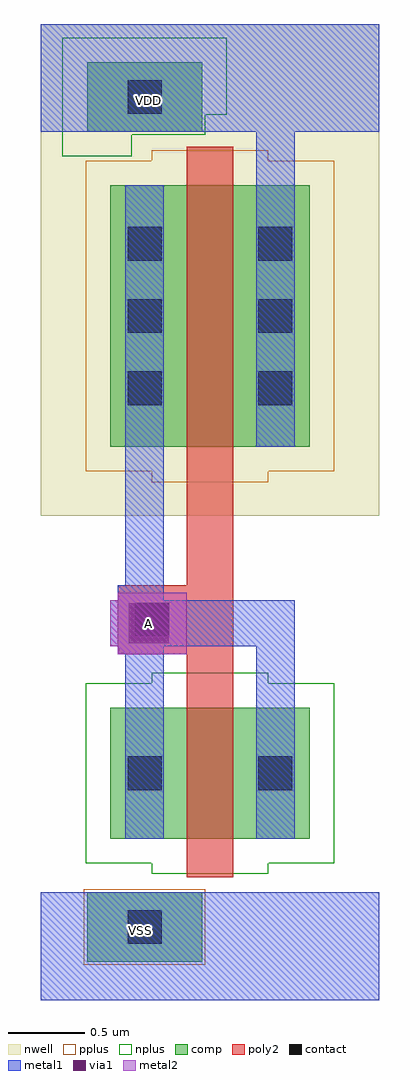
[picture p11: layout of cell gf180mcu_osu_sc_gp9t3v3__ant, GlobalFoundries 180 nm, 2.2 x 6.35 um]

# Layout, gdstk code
import gdstk
lib = gdstk.Library(unit=1e-6, precision=1e-09)
def R(c, l, rs):  # rectangles x0, y0, x1, y1
    for r in rs: c.add(gdstk.rectangle(r[:2], r[2:], *l))
def A(c, l, x, y, w, h, nx, ny, dx, dy):  # array of equal rectangles
    R(c, l, [(x+i*dx, y+j*dy, x+i*dx+w, y+j*dy+h) for i in range(nx) for j in range(ny)])
nwell = (21, 0)
comp = (22, 0)
poly2 = (30, 0)
pplus = (31, 0)
nplus = (32, 0)
contact = (33, 0)
metal1 = (34, 0)
via1 = (35, 0)
metal2 = (36, 0)

gf180mcu_osu_sc_gp9t3v3_ = lib.new_cell('gf180mcu_osu_sc_gp9t3v3__ant')
R(gf180mcu_osu_sc_gp9t3v3_, nwell, [(0,3.15,2.2,6.35)])
R(gf180mcu_osu_sc_gp9t3v3_, comp, [(0.3,0.25,1.05,0.7), (0.45,1.05,1.75,1.9), (0.45,3.6,1.75,5.3), (0.3,5.65,1.05,6.1)])
R(gf180mcu_osu_sc_gp9t3v3_, poly2, [(0.95,0.8,1.25,2.25), (0.5,2.25,1.25,2.7), (0.95,2.7,1.25,5.55)])
R(gf180mcu_osu_sc_gp9t3v3_, pplus, [(0.28,0.23,1.07,0.72), (0.72,3.37,1.48,3.44), (0.29,3.44,1.91,5.46), (0.72,5.46,1.48,5.53)])
R(gf180mcu_osu_sc_gp9t3v3_, nplus, [(0.72,0.82,1.48,0.89), (0.29,0.89,1.91,2.06), (0.72,2.06,1.48,2.13), (0.14,5.49,0.59,5.63), (0.14,5.63,1.07,5.76), (0.14,5.76,1.21,6.26)])
A(gf180mcu_osu_sc_gp9t3v3_, contact, 0.565, 3.87, 0.22, 0.22, 1, 3, 0, 0.47)
A(gf180mcu_osu_sc_gp9t3v3_, contact, 1.415, 3.87, 0.22, 0.22, 1, 3, 0, 0.47)
R(gf180mcu_osu_sc_gp9t3v3_, contact, [(0.565,0.365,0.785,0.585), (0.565,1.365,0.785,1.585), (1.415,1.365,1.635,1.585), (0.615,2.365,0.835,2.585), (0.565,5.765,0.785,5.985)])
R(gf180mcu_osu_sc_gp9t3v3_, metal1, [(0,0,2.2,0.7), (0.55,1.05,0.8,2.25), (1.4,1.05,1.65,2.3), (0.5,2.25,0.8,2.3), (0.45,2.3,1.65,2.6), (0.5,2.6,0.8,2.7), (0.55,2.7,0.8,5.3), (1.4,3.6,1.65,5.65), (0,5.65,2.2,6.35)])
R(gf180mcu_osu_sc_gp9t3v3_, via1, [(0.57,2.32,0.83,2.58)])
R(gf180mcu_osu_sc_gp9t3v3_, metal2, [(0.5,2.25,0.95,2.3), (0.45,2.3,0.95,2.6), (0.5,2.6,0.95,2.65)])
gf180mcu_osu_sc_gp9t3v3_.add(gdstk.Label('VDD', (0.7,5.85), layer=34, texttype=10))
gf180mcu_osu_sc_gp9t3v3_.add(gdstk.Label('VSS', (0.65,0.45), layer=34, texttype=10))
gf180mcu_osu_sc_gp9t3v3_.add(gdstk.Label('A', (0.7,2.45), layer=36, texttype=10))

lib.write_gds('gf180mcu_osu_sc_gp9t3v3__ant.gds')
